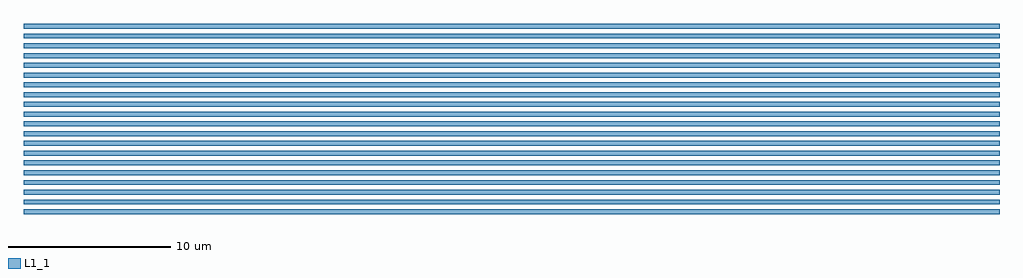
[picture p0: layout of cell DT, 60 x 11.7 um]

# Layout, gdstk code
import gdstk
lib = gdstk.Library(unit=1e-6, precision=1e-09)
def P(c, l, *ps):  # polygons
    for p in ps: c.add(gdstk.Polygon(p, *l))
L1_1 = (1, 1)

c_dt = lib.new_cell('DT')
P(c_dt, L1_1, [(-30,-0.15),(-30,0.15),(30,0.15),(30,-0.15),(-30,-0.15)],
  [(-30,0.45),(-30,0.75),(30,0.75),(30,0.45),(-30,0.45)],
  [(-30,1.05),(-30,1.35),(30,1.35),(30,1.05),(-30,1.05)],
  [(-30,1.65),(-30,1.95),(30,1.95),(30,1.65),(-30,1.65)],
  [(-30,2.25),(-30,2.55),(30,2.55),(30,2.25),(-30,2.25)],
  [(-30,2.85),(-30,3.15),(30,3.15),(30,2.85),(-30,2.85)],
  [(-30,3.45),(-30,3.75),(30,3.75),(30,3.45),(-30,3.45)],
  [(-30,4.05),(-30,4.35),(30,4.35),(30,4.05),(-30,4.05)],
  [(-30,4.65),(-30,4.95),(30,4.95),(30,4.65),(-30,4.65)],
  [(-30,5.25),(-30,5.55),(30,5.55),(30,5.25),(-30,5.25)],
  [(-30,5.85),(-30,6.15),(30,6.15),(30,5.85),(-30,5.85)],
  [(-30,6.45),(-30,6.75),(30,6.75),(30,6.45),(-30,6.45)],
  [(-30,7.05),(-30,7.35),(30,7.35),(30,7.05),(-30,7.05)],
  [(-30,7.65),(-30,7.95),(30,7.95),(30,7.65),(-30,7.65)],
  [(-30,8.25),(-30,8.55),(30,8.55),(30,8.25),(-30,8.25)],
  [(-30,8.85),(-30,9.15),(30,9.15),(30,8.85),(-30,8.85)],
  [(-30,9.45),(-30,9.75),(30,9.75),(30,9.45),(-30,9.45)],
  [(-30,10.05),(-30,10.35),(30,10.35),(30,10.05),(-30,10.05)],
  [(-30,10.65),(-30,10.95),(30,10.95),(30,10.65),(-30,10.65)],
  [(-30,11.25),(-30,11.55),(30,11.55),(30,11.25),(-30,11.25)])

lib.write_gds('DT.gds')
